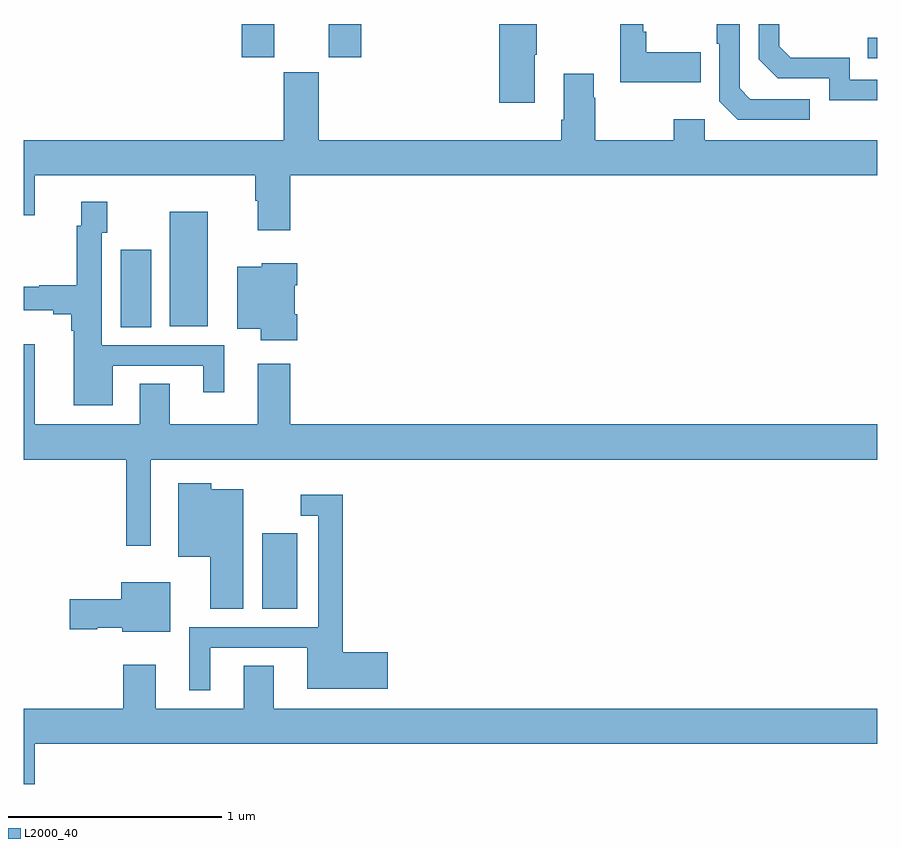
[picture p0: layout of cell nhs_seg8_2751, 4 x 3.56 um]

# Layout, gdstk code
import gdstk
lib = gdstk.Library(unit=1e-6, precision=1e-09)
def R(c, l, rs):  # rectangles x0, y0, x1, y1
    for r in rs: c.add(gdstk.rectangle(r[:2], r[2:], *l))
def P(c, l, *ps):  # polygons
    for p in ps: c.add(gdstk.Polygon(p, *l))
L2000_40 = (2000, 40)

nhs_seg8_2751 = lib.new_cell('nhs_seg8_2751')
R(nhs_seg8_2751, L2000_40, [(286.118,1089.16,286.282,1089.514), (285.455,1090.48,285.598,1090.843), (285.686,1090.484,285.862,1091.02), (288.955,1091.739,289,1091.835), (286.022,1091.745,286.174,1091.9), (286.43,1091.745,286.583,1091.9)])
P(nhs_seg8_2751, L2000_40, [(287.395,1091.755),(287.403,1091.755),(287.403,1091.9),(287.228,1091.9),(287.228,1091.532),(287.395,1091.532)],
  [(289,1091.64),(288.87,1091.64),(288.87,1091.743),(288.593,1091.743),(288.54,1091.796),(288.54,1091.9),(288.444,1091.9),(288.444,1091.736),(288.534,1091.646),(288.774,1091.646),(288.774,1091.544),(289,1091.544)],
  [(288.682,1091.547),(288.405,1091.547),(288.354,1091.598),(288.354,1091.9),(288.246,1091.9),(288.246,1091.807),(288.258,1091.807),(288.258,1091.538),(288.345,1091.451),(288.682,1091.451)],
  [(288.173,1091.767),(287.917,1091.767),(287.917,1091.863),(287.904,1091.863),(287.904,1091.9),(287.796,1091.9),(287.796,1091.627),(288.173,1091.627)],
  [(285,1091.004),(285.052,1091.004),(285.052,1091.192),(286.085,1091.192),(286.085,1091.072),(286.097,1091.072),(286.097,1090.935),(286.25,1090.935),(286.25,1091.192),(289,1091.192),(289,1091.356),(288.192,1091.356),(288.192,1091.455),(288.046,1091.455),(288.046,1091.356),(287.679,1091.356),(287.679,1091.555),(287.671,1091.555),(287.671,1091.668),(287.531,1091.668),(287.531,1091.452),(287.519,1091.452),(287.519,1091.356),(286.384,1091.356),(286.384,1091.673),(286.22,1091.673),(286.22,1091.356),(285,1091.356)],
  [(285.418,1090.299),(285.842,1090.299),(285.842,1090.176),(285.94,1090.176),(285.94,1090.395),(285.366,1090.395),(285.366,1090.923),(285.393,1090.923),(285.393,1091.068),(285.27,1091.068),(285.27,1090.955),(285.25,1090.955),(285.25,1090.676),(285.073,1090.676),(285.073,1090.669),(285,1090.669),(285,1090.559),(285.14,1090.559),(285.14,1090.54),(285.224,1090.54),(285.224,1090.463),(285.236,1090.463),(285.236,1090.115),(285.418,1090.115)],
  [(286.283,1090.54),(286.27,1090.54),(286.27,1090.676),(286.283,1090.676),(286.283,1090.78),(286.116,1090.78),(286.116,1090.762),(286.001,1090.762),(286.001,1090.472),(286.112,1090.472),(286.112,1090.418),(286.283,1090.418)],
  [(285.597,1089.86),(289,1089.86),(289,1090.024),(286.25,1090.024),(286.25,1090.309),(286.097,1090.309),(286.097,1090.024),(285.685,1090.024),(285.685,1090.214),(285.545,1090.214),(285.545,1090.024),(285.052,1090.024),(285.052,1090.399),(285,1090.399),(285,1089.86),(285.481,1089.86),(285.481,1089.456),(285.597,1089.456)],
  [(286.03,1089.721),(285.879,1089.721),(285.879,1089.748),(285.725,1089.748),(285.725,1089.404),(285.875,1089.404),(285.875,1089.16),(286.03,1089.16)],
  [(285.874,1088.979),(286.328,1088.979),(286.328,1088.786),(286.705,1088.786),(286.705,1088.957),(286.496,1088.957),(286.496,1089.694),(286.299,1089.694),(286.299,1089.597),(286.38,1089.597),(286.38,1089.075),(285.776,1089.075),(285.776,1088.778),(285.874,1088.778)],
  [(285.688,1089.286),(285.458,1089.286),(285.458,1089.206),(285.216,1089.206),(285.216,1089.064),(285.345,1089.064),(285.345,1089.071),(285.462,1089.071),(285.462,1089.053),(285.688,1089.053)],
  [(285.052,1088.528),(289,1088.528),(289,1088.692),(286.171,1088.692),(286.171,1088.894),(286.031,1088.894),(286.031,1088.692),(285.619,1088.692),(285.619,1088.899),(285.467,1088.899),(285.467,1088.692),(285,1088.692),(285,1088.34),(285.052,1088.34)])

lib.write_gds('nhs_seg8_2751.gds')
